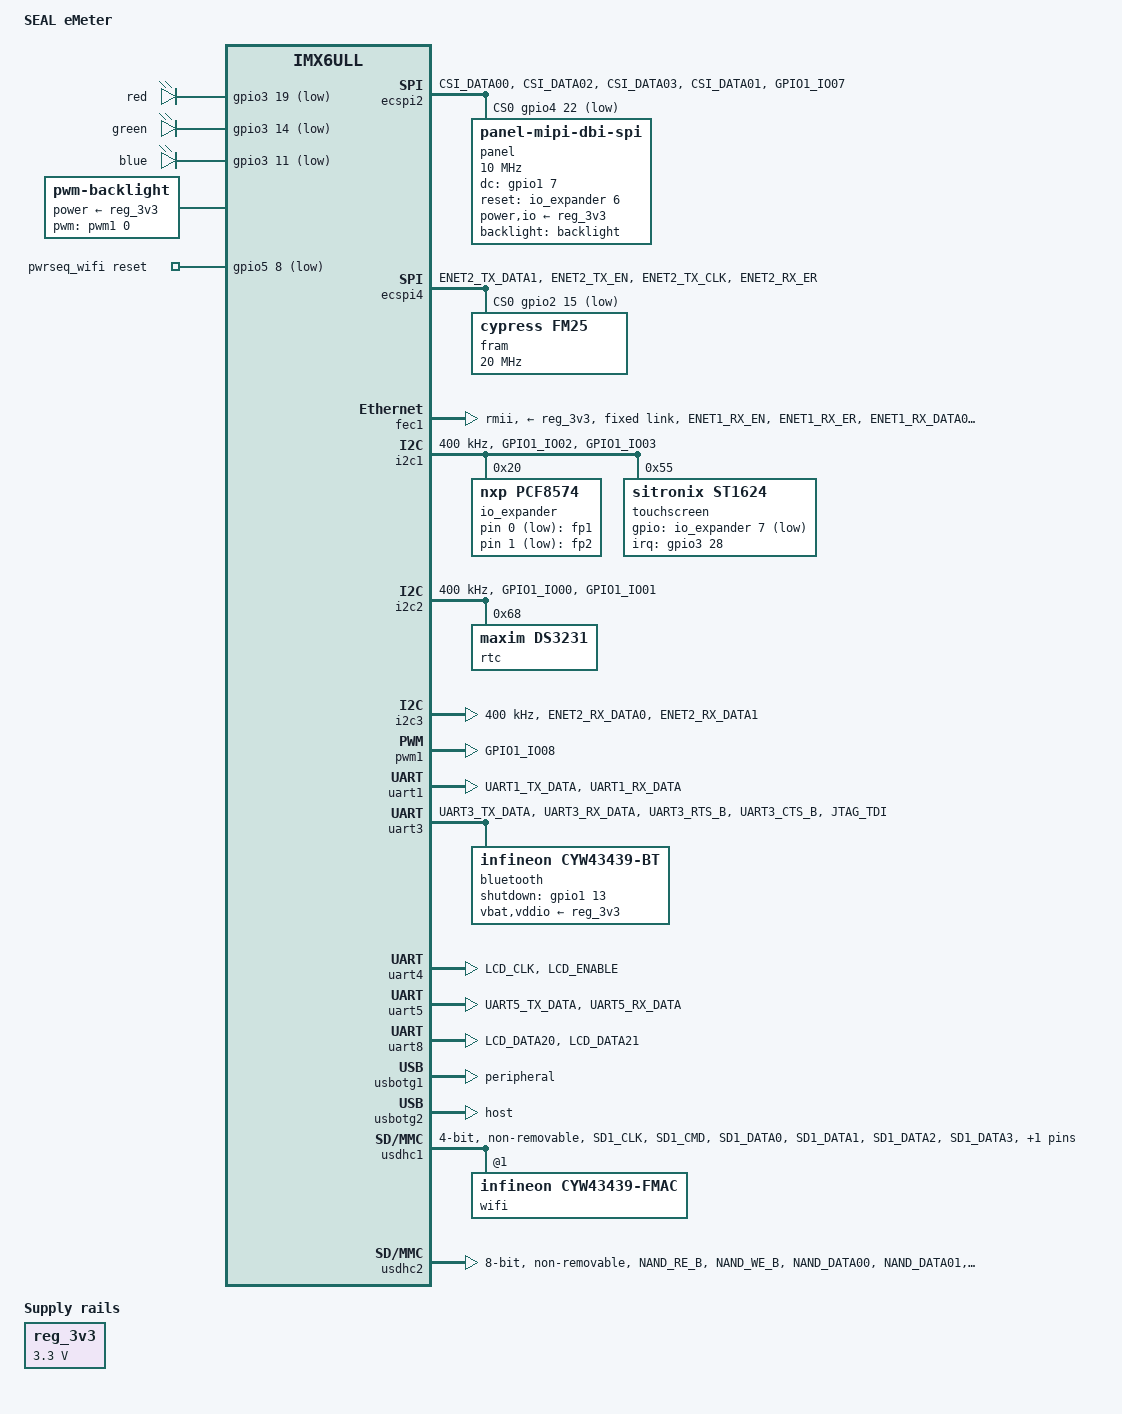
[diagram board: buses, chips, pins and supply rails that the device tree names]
// SPDX-License-Identifier: GPL-2.0+
/*
 * Copyright (C) 2026 SEAL AG
 */

/dts-v1/;

#include "arm/nxp/imx/imx6ull.dtsi"

/ {
	model = "SEAL eMeter";
	compatible = "seal,emeter", "fsl,imx6ull";

	chosen {
		stdout-path = &uart5;
	};

	memory {
		reg = <0x80000000 0>;
	};

	leds {
		compatible = "gpio-leds";
		pinctrl-names = "default";
		pinctrl-0 = <&pinctrl_leds>;

		red {
			label = "red";
			gpios = <&gpio3 19 GPIO_ACTIVE_LOW>;
			default-state = "off";
		};

		green {
			label = "green";
			gpios = <&gpio3 14 GPIO_ACTIVE_LOW>;
			default-state = "off";
		};

		blue {
			label = "blue";
			gpios = <&gpio3 11 GPIO_ACTIVE_LOW>;
			default-state = "off";
		};

	};

	leds-fp {
		compatible = "gpio-leds";

		fp1 {
			label = "fp1";
			gpios = <&io_expander 0 GPIO_ACTIVE_LOW>;
			default-state = "off";
		};

		fp2 {
			label = "fp2";
			gpios = <&io_expander 1 GPIO_ACTIVE_LOW>;
			default-state = "off";
		};
	};

	backlight: backlight {
		compatible = "pwm-backlight";
		pwms = <&pwm1 0 191000>;
		brightness-levels = <0 4 8 16 32 64 128 255>;
		default-brightness-level = <7>;
		power-supply = <&reg_3v3>;
		status = "okay";
	};

	pwrseq_wifi: pwrseq-wifi {
		compatible = "mmc-pwrseq-simple";
		reset-gpios = <&gpio5 8 GPIO_ACTIVE_LOW>;
		clocks = <&rtc 1>;
		clock-names = "ext_clock";
	};

	reg_3v3: reg-3v3 {
		compatible = "regulator-fixed";
		regulator-name = "reg_3v3";
		regulator-min-microvolt = <3300000>;
		regulator-max-microvolt = <3300000>;
	};
};

&ecspi2 {
	pinctrl-names = "default";
	pinctrl-0 = <&pinctrl_ecspi2>;
	status = "okay";

	num-cs = <1>;
	cs-gpios = <&gpio4 22 GPIO_ACTIVE_LOW>;

	panel@0 {
		compatible = "panel-mipi-dbi-spi";
		reg = <0>;
		backlight = <&backlight>;
		dc-gpios = <&gpio1 7 GPIO_ACTIVE_HIGH>;
		reset-gpios = <&io_expander 6 GPIO_ACTIVE_HIGH>;
		spi-max-frequency = <10000000>;
		power-supply = <&reg_3v3>;
		io-supply = <&reg_3v3>;

		width-mm = <41>;
		height-mm = <30>;

		timing: panel-timing {
			hactive = <320>;
			vactive = <240>;
			hback-porch = <0>;
			vback-porch = <0>;

			clock-frequency = <0>;
			hfront-porch = <0>;
			hsync-len = <0>;
			vfront-porch = <0>;
			vsync-len = <0>;
		};
	};
};

&ecspi4 {
	pinctrl-names = "default";
	pinctrl-0 = <&pinctrl_ecspi4>;
	cs-gpios = <&gpio2 15 GPIO_ACTIVE_LOW>;
	status = "okay";

	fram@0 {
		compatible = "cypress,fm25";
		spi-max-frequency = <20000000>;
		reg = <0>;
		size = <16384>;
	};
};

&clks {
	assigned-clocks = <&clks IMX6UL_CLK_ENET1_REF_SEL>;
	assigned-clock-parents = <&clks IMX6UL_CLK_ENET1_REF_125M>;
};

/*
&ecspi3 {
	pinctrl-names = "default", "sleep";
	pinctrl-0 = <&pinctrl_ecspi3>;
	pinctrl-1 = <&pinctrl_ecspi3_sleep>;
	status = "okay";

	num-cs = <1>;
	cs-gpios = <&gpio1 20 GPIO_ACTIVE_LOW>;

	hdplc_flash: flash@0 {
		compatible = "jedec,spi-nor";
		reg = <0>;
		spi-max-frequency = <20000000>;
		vcc-supply = <&reg_3v3>;
	};
};
*/

&fec1 {
	pinctrl-names = "default";
	pinctrl-0 = <&pinctrl_enet1>;
	phy-mode = "rmii";
	phy-supply = <&reg_3v3>;
	status = "okay";

	fixed-link {
		speed = <100>;
		full-duplex;
	};
};

&i2c1 {
	pinctrl-names = "default";
	pinctrl-0 = <&pinctrl_i2c1>;
	clock-frequency = <400000>;
	status = "okay";

	io_expander: io-expander@20 {
		compatible = "nxp,pcf8574";
		reg = <0x20>;
		#gpio-cells = <2>;
		gpio-controller;
	};

	touchscreen@55 {
		compatible = "sitronix,st1624", "sitronix,st1633";
		reg = <0x55>;
		interrupt-parent = <&gpio3>;
		interrupts = <28 IRQ_TYPE_EDGE_FALLING>;
		pinctrl-names = "default";
		pinctrl-0 = <&pinctrl_touch>;
		gpios = <&io_expander 7 GPIO_ACTIVE_LOW>;
		wakeup-source;
		touchscreen-inverted-x;
		touchscreen-swapped-x-y;
	};
};

&i2c2 {
	pinctrl-names = "default";
	pinctrl-0 = <&pinctrl_i2c2>;
	clock-frequency = <400000>;
	status = "okay";

	rtc: rtc@68 {
		#clock-cells = <1>;
		compatible = "maxim,ds3231";
		reg = <0x68>;
	};
};

&i2c3 {
	pinctrl-names = "default";
	pinctrl-0 = <&pinctrl_i2c3>;
	clock-frequency = <400000>;
	status = "okay";
};

&iomuxc {
	pinctrl-names = "default";
	pinctrl-0 = <&pinctrl_hog>;

	pinctrl_ecspi2: ecspi2grp {
		fsl,pins = <
			MX6UL_PAD_CSI_DATA00__ECSPI2_SCLK	0x1b020
			MX6UL_PAD_CSI_DATA02__ECSPI2_MOSI	0x1b020
			MX6UL_PAD_CSI_DATA03__ECSPI2_MISO	0x1b020
			/* LCD_CS */
			MX6UL_PAD_CSI_DATA01__GPIO4_IO22	0x1b020
			/* LCD_DC */
			MX6UL_PAD_GPIO1_IO07__GPIO1_IO07	0x1b020
		>;
	};

	pinctrl_ecspi3: ecspi3grp {
		fsl,pins = <
			MX6UL_PAD_UART2_RX_DATA__ECSPI3_SCLK	0x1b020
			MX6UL_PAD_UART2_RTS_B__ECSPI3_MISO	0x1b020
			MX6UL_PAD_UART2_CTS_B__ECSPI3_MOSI	0x1b020
			/* HDPLC_FLASH_CS_N */
			MX6UL_PAD_UART2_TX_DATA__GPIO1_IO20	0x1b020
		>;
	};

	pinctrl_ecspi3_sleep: ecspi3-sleepgrp {
		fsl,pins = <
			MX6UL_PAD_UART2_RX_DATA__ECSPI3_SCLK	0x0
			MX6UL_PAD_UART2_RTS_B__ECSPI3_MISO	0x0
			MX6UL_PAD_UART2_CTS_B__ECSPI3_MOSI	0x0
			/* HDPLC_FLASH_CS_N */
			MX6UL_PAD_UART2_TX_DATA__GPIO1_IO20	0x0
		>;
	};

	pinctrl_ecspi4: ecspi4grp {
		fsl,pins = <
			MX6UL_PAD_ENET2_TX_DATA1__ECSPI4_SCLK   0x1b020
			MX6UL_PAD_ENET2_TX_EN__ECSPI4_MOSI      0x1b020
			MX6UL_PAD_ENET2_TX_CLK__ECSPI4_MISO     0x1b020
			/* FRAM_CS_N */
			MX6UL_PAD_ENET2_RX_ER__GPIO2_IO15       0x1b020
		>;
	};

	pinctrl_enet1: enet1grp {
		fsl,pins = <
			MX6UL_PAD_ENET1_RX_EN__ENET1_RX_EN	0x1f0a9
			MX6UL_PAD_ENET1_RX_ER__ENET1_RX_ER	0x1b0a9
			MX6UL_PAD_ENET1_RX_DATA0__ENET1_RDATA00	0x1f0a9
			MX6UL_PAD_ENET1_RX_DATA1__ENET1_RDATA01	0x1f0a9
			MX6UL_PAD_ENET1_TX_EN__ENET1_TX_EN	0x1b0a9
			MX6UL_PAD_ENET1_TX_DATA0__ENET1_TDATA00	0x1b0a9
			MX6UL_PAD_ENET1_TX_DATA1__ENET1_TDATA01	0x1b0a9
			MX6UL_PAD_ENET1_TX_CLK__ENET1_REF_CLK1	0x4001b091
			/* HDPLC_RESET_N */
			MX6UL_PAD_LCD_DATA22__GPIO3_IO27	0x1f020
		>;
	};

	pinctrl_hog: hoggrp {
		fsl,pins = <
			/* RP2350_BOOT_N */
			MX6UL_PAD_UART4_TX_DATA__GPIO1_IO28	0x1f020
			/* RP2350_RESET_N */
			MX6UL_PAD_UART4_RX_DATA__GPIO1_IO29	0x1f020
		>;
	};

	pinctrl_i2c1: i2c1grp {
		fsl,pins = <
			MX6UL_PAD_GPIO1_IO02__I2C1_SCL		0x4001b8b0
			MX6UL_PAD_GPIO1_IO03__I2C1_SDA		0x4001b8b0
		>;
	};

	pinctrl_i2c2: i2c2grp {
		fsl,pins = <
			MX6UL_PAD_GPIO1_IO00__I2C2_SCL		0x4001b8b0
			MX6UL_PAD_GPIO1_IO01__I2C2_SDA		0x4001b8b0
		>;
	};

	pinctrl_i2c3: i2c3grp {
		fsl,pins = <
			MX6UL_PAD_ENET2_RX_DATA0__I2C3_SCL	0x4001b8b0
			MX6UL_PAD_ENET2_RX_DATA1__I2C3_SDA	0x4001b8b0
		>;
	};

	pinctrl_leds: ledsgrp {
		fsl,pins = <
			MX6UL_PAD_LCD_DATA14__GPIO3_IO19	0x1b0b0 /* Red */
			MX6UL_PAD_LCD_DATA09__GPIO3_IO14	0x1b0b0 /* Green */
			MX6UL_PAD_LCD_DATA06__GPIO3_IO11	0x1b0b0 /* Blue */
		>;
	};

	pinctrl_pwm1: pwm1grp {
		fsl,pins = <
			MX6UL_PAD_GPIO1_IO08__PWM1_OUT		0x1b0b0
		>;
	};

	pinctrl_touch: touchgrp {
		fsl,pins = <
			/* TOUCH_INT */
			MX6UL_PAD_LCD_DATA23__GPIO3_IO28	0x1b0b0
		>;
	};

	pinctrl_uart1: uart1grp {
		fsl,pins = <
			MX6UL_PAD_UART1_TX_DATA__UART1_DCE_TX	0x1b0b1
			MX6UL_PAD_UART1_RX_DATA__UART1_DCE_RX	0x1b0b1
		>;
	};

	pinctrl_uart3: uart3grp {
		fsl,pins = <
			MX6UL_PAD_UART3_TX_DATA__UART3_DCE_TX	0x1b0b1
			MX6UL_PAD_UART3_RX_DATA__UART3_DCE_RX	0x1b0b1
			MX6UL_PAD_UART3_RTS_B__UART3_DCE_RTS	0x1b0b1
			MX6UL_PAD_UART3_CTS_B__UART3_DCE_CTS	0x1b0b1
			/* BT_REG_ON */
			MX6UL_PAD_JTAG_TDI__GPIO1_IO13		0x1b0b1
		>;
	};

	pinctrl_uart4: uart4grp {
		fsl,pins = <
			MX6UL_PAD_LCD_CLK__UART4_DCE_TX		0x1b0b1
			MX6UL_PAD_LCD_ENABLE__UART4_DCE_RX	0x1b0b1
		>;
	};

	pinctrl_uart5: uart5grp {
		fsl,pins = <
			MX6UL_PAD_UART5_TX_DATA__UART5_DCE_TX	0x1b0b1
			MX6UL_PAD_UART5_RX_DATA__UART5_DCE_RX	0x1b0b1
		>;
	};

	pinctrl_uart8: uart8grp {
		fsl,pins = <
			MX6UL_PAD_LCD_DATA20__UART8_DCE_TX	0x1b0b1
			MX6UL_PAD_LCD_DATA21__UART8_DCE_RX	0x1b0b1
		>;
	};

	pinctrl_usdhc1: usdhc1grp {
		fsl,pins = <
			MX6UL_PAD_SD1_CLK__USDHC1_CLK		0x17070
			MX6UL_PAD_SD1_CMD__USDHC1_CMD		0x10070
			MX6UL_PAD_SD1_DATA0__USDHC1_DATA0	0x17070
			MX6UL_PAD_SD1_DATA1__USDHC1_DATA1	0x17070
			MX6UL_PAD_SD1_DATA2__USDHC1_DATA2	0x17070
			MX6UL_PAD_SD1_DATA3__USDHC1_DATA3	0x17070
			/* WL_REG_ON */
			MX6UL_PAD_SNVS_TAMPER8__GPIO5_IO08	0x13070
		>;
	};

	pinctrl_usdhc2: usdhc2grp {
		fsl,pins = <
			MX6UL_PAD_NAND_RE_B__USDHC2_CLK		0x17070
			MX6UL_PAD_NAND_WE_B__USDHC2_CMD		0x10070
			MX6UL_PAD_NAND_DATA00__USDHC2_DATA0	0x17070
			MX6UL_PAD_NAND_DATA01__USDHC2_DATA1	0x17070
			MX6UL_PAD_NAND_DATA02__USDHC2_DATA2	0x17070
			MX6UL_PAD_NAND_DATA03__USDHC2_DATA3	0x17070
			MX6UL_PAD_NAND_DATA04__USDHC2_DATA4	0x17070
			MX6UL_PAD_NAND_DATA05__USDHC2_DATA5	0x17070
			MX6UL_PAD_NAND_DATA06__USDHC2_DATA6	0x17070
			MX6UL_PAD_NAND_DATA07__USDHC2_DATA7	0x17070
			MX6UL_PAD_NAND_ALE__USDHC2_RESET_B	0x17070
		>;
	};
};

&pwm1 {
	#pwm-cells = <2>;
	pinctrl-names = "default";
	pinctrl-0 = <&pinctrl_pwm1>;
	status = "okay";
};

/* M-Bus */
&uart1 {
	pinctrl-names = "default";
	pinctrl-0 = <&pinctrl_uart1>;
	status = "okay";
	fsl,inverted-tx;
	fsl,inverted-rx;
};

/* Bluetooth */
&uart3 {
	pinctrl-names = "default";
	pinctrl-0 = <&pinctrl_uart3>;
	uart-has-rtscts;
	status = "okay";

	bluetooth: bluetooth {
		compatible = "infineon,cyw43439-bt", "brcm,bcm4329-bt";
		shutdown-gpios = <&gpio1 13 GPIO_ACTIVE_HIGH>;
		vbat-supply = <&reg_3v3>;
		vddio-supply = <&reg_3v3>;
	};
};

/* M-Bus STM32 MCU */
&uart4 {
	pinctrl-names = "default";
	pinctrl-0 = <&pinctrl_uart4>;
	status = "okay";
};

/* Console */
&uart5 {
	pinctrl-names = "default";
	pinctrl-0 = <&pinctrl_uart5>;
	status = "okay";
};

/* HD-PLC */
&uart8 {
	pinctrl-names = "default";
	pinctrl-0 = <&pinctrl_uart8>;
	status = "okay";
};

&usbotg1 {
	dr_mode = "peripheral";
	disable-over-current;
	status = "okay";
};

&usbotg2 {
	dr_mode = "host";
	disable-over-current;
	status = "okay";
};

&usdhc1 {
	pinctrl-names = "default";
	pinctrl-0 = <&pinctrl_usdhc1>;
	bus-width = <4>;
	no-1-8-v;
	non-removable;
	mmc-pwrseq = <&pwrseq_wifi>;
	status = "okay";

	#address-cells = <1>;
	#size-cells = <0>;

	wifi@1 {
		reg = <1>;
		compatible = "infineon,cyw43439-fmac", "brcm,bcm4329-fmac";
	};
};

&usdhc2 {
	pinctrl-names = "default";
	pinctrl-0 = <&pinctrl_usdhc2>;
	bus-width = <8>;
	no-1-8-v;
	non-removable;
	status = "okay";
};
